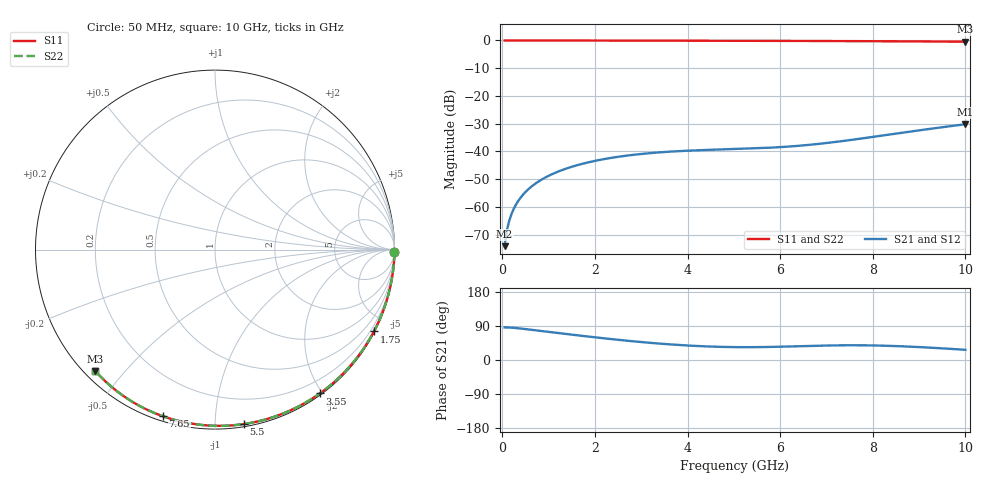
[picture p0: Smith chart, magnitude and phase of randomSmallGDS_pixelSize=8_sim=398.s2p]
! freq	dB(S11)	phase(S11)	dB(S12)	phase(S12)
!  dB(S21)	phase(S21)	dB(S22)	phase(S22)
!S-par simulation data
#  GHz  S  DB  R 50
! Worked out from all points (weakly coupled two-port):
!   200 points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, 50 MHz to 10 GHz, reference 50 ohm
!   highest |S21| = -30.19 dB at 10 GHz (marker M1); lowest = -74.1 dB at 50 MHz (marker M2)
!   lowest |S11| = -0.4 dB at 10 GHz (marker M3), VSWR 38.95, Z = 1.51 - j21 ohm
!   |S11| at or under -10 dB: nowhere
!   |S22| runs from -0.4 to 0.0 dB; largest |S21 - S12| = 0
!   S11 on the Smith chart (normalised r, x): 50 MHz: open; 1.75 GHz: 0.04, -4.13; 3.55 GHz: 0.02, -1.97; 5.5 GHz: 0.02, -1.18; 7.65 GHz: 0.02, -0.73; 10 GHz: 0.03, -0.42
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0.05  -0.00 -0.8  -74.14 85.9  -74.14 85.9  -0.00 -0.8
0.1  -0.00 -1.6  -68.40 85.9  -68.40 85.9  -0.00 -1.6
0.15  -0.00 -2.4  -64.97 85.8  -64.97 85.8  -0.00 -2.4
0.2  -0.00 -3.2  -62.51 85.4  -62.51 85.4  -0.00 -3.2
0.25  -0.00 -4.0  -60.59 84.9  -60.59 84.9  -0.00 -4.0
0.35  -0.00 -5.5  -57.69 83.7  -57.69 83.7  -0.00 -5.5
0.5  -0.01 -7.9  -54.63 81.6  -54.63 81.6  -0.01 -7.9
0.7  -0.01 -11.0  -51.77 78.7  -51.77 78.7  -0.01 -11.0
1  -0.02 -15.7  -48.78 74.2  -48.78 74.2  -0.02 -15.7
1.35  -0.03 -21.1  -46.35 69.1  -46.35 69.1  -0.03 -21.1
1.75  -0.03 -27.2  -44.36 63.3  -44.36 63.3  -0.03 -27.3
2.5  -0.05 -38.5  -41.93 53.3  -41.93 53.3  -0.05 -38.6
3.4  -0.07 -51.7  -40.32 43.2  -40.32 43.2  -0.07 -51.8
3.55  -0.07 -53.9  -40.15 41.8  -40.15 41.8  -0.07 -53.9
4.3  -0.09 -64.4  -39.52 36.4  -39.52 36.4  -0.09 -64.5
5.05  -0.11 -74.6  -39.12 33.9  -39.12 33.9  -0.11 -74.7
5.5  -0.13 -80.6  -38.86 34.0  -38.86 34.0  -0.13 -80.6
6.7  -0.18 -95.8  -37.50 37.4  -37.50 37.4  -0.18 -95.9
7.65  -0.24 -107.4  -35.58 38.9  -35.58 38.9  -0.24 -107.4
8.35  -0.29 -115.6  -33.93 37.4  -33.93 37.4  -0.29 -115.7
9.2  -0.36 -125.4  -31.94 32.8  -31.94 32.8  -0.36 -125.5
10  -0.45 -134.5  -30.19 26.9  -30.19 26.9  -0.45 -134.6
